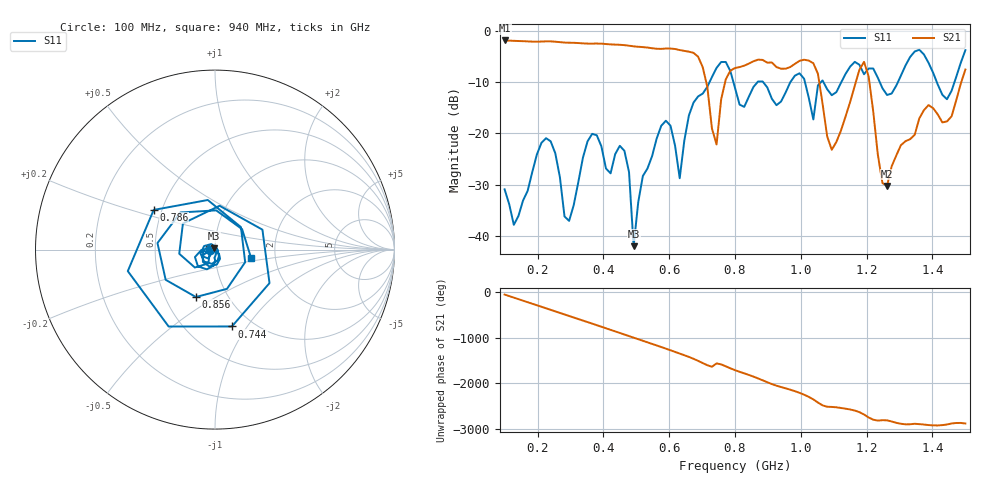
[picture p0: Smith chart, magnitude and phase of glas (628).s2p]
! NanoVNA-App
! Date: 2025-09-25 16:00:22
! Start: 100MHz Stop: 1,5GHz Points: 101
! S-Parameter data: F S11 S21 S12 S22
# Hz S RI R 50
!  Frequency  S11_Real  S11_Imag  S21_Real  S21_Imag  S12_Real  S12_Imag  S22_Real  S22_Imag
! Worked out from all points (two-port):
!   101 points, 100 MHz to 1.5 GHz, reference 50 ohm
!   highest |S21| = -1.80 dB at 100 MHz (marker M1); lowest = -30.2 dB at 1.262 GHz (marker M2)
!   |S21| within 3 dB of the highest: start of sweep to 684.5 MHz
!   lowest |S11| = -42.1 dB at 492 MHz (marker M3), VSWR 1.02, Z = 49.5 + j0.617 ohm
!   |S11| at or under -10 dB: start of sweep to 722.3 MHz; 795.4 MHz to 867.8 MHz (72.48 MHz wide, 8.72 % of centre); 886.1 MHz to 967.8 MHz (81.73 MHz wide, 8.82 % of centre) (the widest 3 of 7)
!   S12 and S22 are empty: the file has one direction only
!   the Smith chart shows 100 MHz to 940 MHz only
!   S11 on the Smith chart (normalised r, x): 100 MHz: 0.95, -0.01; 744 MHz: 0.80, -0.85; 786 MHz: 0.45, +0.24; 856 MHz: 0.71, -0.41; 940 MHz: 1.49, -0.14
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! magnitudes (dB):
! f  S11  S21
! 100 MHz  -30.9  -1.8
! 128 MHz  -37.9  -1.9
! 226 MHz  -20.9  -2.0
! 296 MHz  -37.1  -2.2
! 338 MHz  -24.7  -2.4
! 464 MHz  -23.4  -2.7
! 492 MHz  -42.1  -3.0
! 576 MHz  -18.5  -3.5
! 632 MHz  -28.8  -3.7
! 702 MHz  -12.2  -7.0
! 744 MHz  -7.2  -22.2
! 786 MHz  -7.8  -7.7
! 800 MHz  -11.1  -7.2
! 856 MHz  -10.9  -5.9
! 940 MHz  -13.7  -7.3
! 996 MHz  -8.2  -5.8
! 1.038 GHz  -17.3  -6.3
! 1.094 GHz  -12.5  -23.2
! 1.192 GHz  -8.4  -6.0
! 1.262 GHz  -12.5  -30.2
! 1.276 GHz  -12.2  -26.4
! 1.5 GHz  -3.7  -7.5
